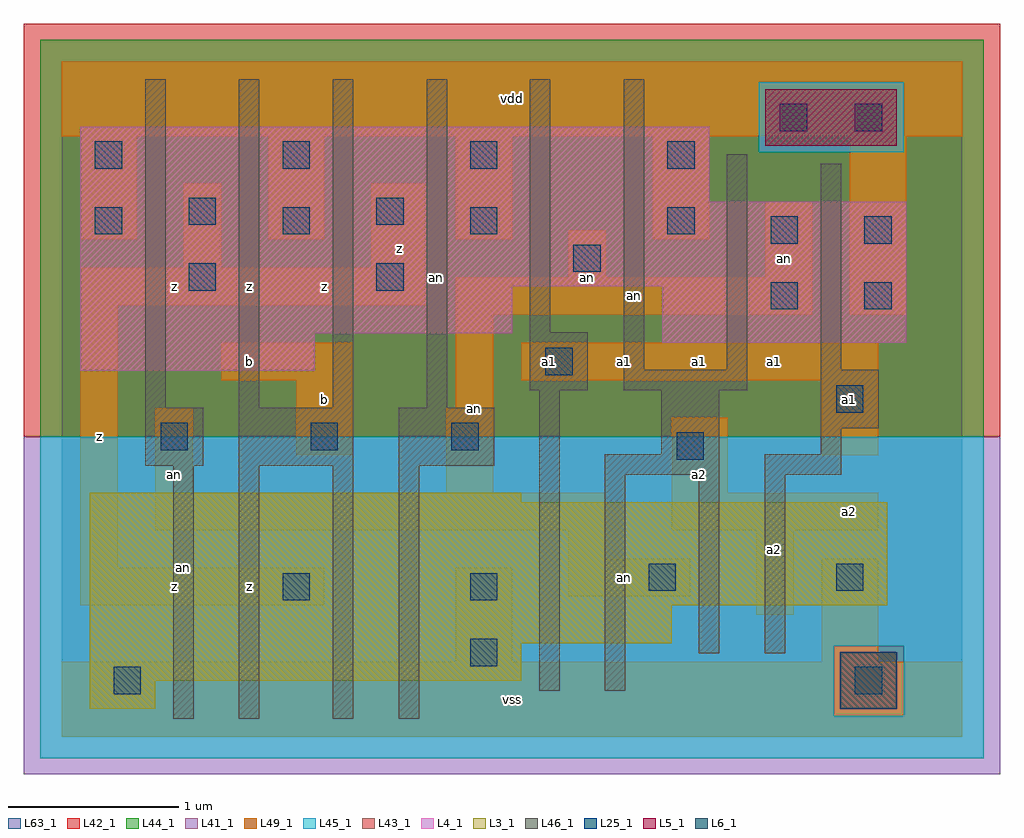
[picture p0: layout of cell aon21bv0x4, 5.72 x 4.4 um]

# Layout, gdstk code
import gdstk
lib = gdstk.Library(unit=1e-6, precision=1e-09)
def R(c, l, rs):  # rectangles x0, y0, x1, y1
    for r in rs: c.add(gdstk.rectangle(r[:2], r[2:], *l))
def A(c, l, x, y, w, h, nx, ny, dx, dy):  # array of equal rectangles
    R(c, l, [(x+i*dx, y+j*dy, x+i*dx+w, y+j*dy+h) for i in range(nx) for j in range(ny)])
L3_1 = (3, 1)
L4_1 = (4, 1)
L5_1 = (5, 1)
L6_1 = (6, 1)
L25_1 = (25, 1)
L41_1 = (41, 1)
L42_1 = (42, 1)
L43_1 = (43, 1)
L44_1 = (44, 1)
L45_1 = (45, 1)
L46_1 = (46, 1)
L49_1 = (49, 1)
L63_1 = (63, 1)

aon21bv0x4 = lib.new_cell('aon21bv0x4')
R(aon21bv0x4, L3_1, [(0.165,0.165,0.55,0.33), (0.165,0.33,2.695,0.55), (0.165,0.55,3.575,0.77), (0.165,0.77,4.84,1.375), (0.165,1.375,2.695,1.43)])
R(aon21bv0x4, L4_1, [(0.11,2.145,1.485,2.365), (3.52,2.31,4.95,2.64), (0.11,2.365,2.64,2.64), (0.11,2.64,4.95,3.135), (0.11,3.135,3.795,3.575)])
R(aon21bv0x4, L5_1, [(4.125,3.465,4.895,3.795)])
R(aon21bv0x4, L6_1, [(4.565,0.165,4.895,0.495)])
A(aon21bv0x4, L25_1, 0.195, 2.945, 0.16, 0.16, 3, 2, 1.1, 0.385)
R(aon21bv0x4, L25_1, [(0.305,0.25,0.465,0.41), (4.65,0.25,4.81,0.41), (2.395,0.415,2.555,0.575), (1.295,0.8,1.455,0.96), (2.395,0.8,2.555,0.96), (3.44,0.855,3.6,1.015), (4.54,0.855,4.7,1.015), (3.605,1.625,3.765,1.785), (0.58,1.68,0.74,1.84), (1.46,1.68,1.62,1.84), (2.285,1.68,2.445,1.84), (4.54,1.9,4.7,2.06), (2.835,2.12,2.995,2.28), (4.155,2.505,4.315,2.665), (4.705,2.505,4.865,2.665), (0.745,2.615,0.905,2.775), (1.845,2.615,2.005,2.775), (3,2.725,3.16,2.885), (4.155,2.89,4.315,3.05), (4.705,2.89,4.865,3.05), (3.55,2.945,3.71,3.105), (0.745,3,0.905,3.16), (1.845,3,2.005,3.16), (3.55,3.33,3.71,3.49), (4.21,3.55,4.37,3.71), (4.65,3.55,4.81,3.71)])
R(aon21bv0x4, L41_1, [(-0.22,-0.22,5.5,1.76)])
R(aon21bv0x4, L42_1, [(-0.22,1.76,5.5,4.18)])
R(aon21bv0x4, L43_1, [(0.165,0.165,0.55,0.33), (4.565,0.165,4.895,0.495), (0.165,0.33,2.695,0.55), (0.165,0.55,3.575,0.77), (0.165,0.77,4.84,1.375), (0.165,1.375,2.695,1.43), (0.11,2.145,1.485,2.365), (3.52,2.31,4.95,2.64), (0.11,2.365,2.64,2.64), (0.11,2.64,4.95,3.135), (0.11,3.135,3.795,3.575), (4.125,3.465,4.895,3.795)])
R(aon21bv0x4, L44_1, [(4.525,0.125,4.935,0.535), (-0.125,1.76,5.405,3.425), (-0.125,3.425,4.085,3.835), (4.935,3.425,5.405,3.835), (-0.125,3.835,5.405,4.085)])
R(aon21bv0x4, L45_1, [(-0.125,-0.125,5.405,0.125), (-0.125,0.125,4.525,0.535), (4.935,0.125,5.405,0.535), (-0.125,0.535,5.405,1.76), (4.085,3.425,4.935,3.835)])
A(aon21bv0x4, L46_1, 0.49, 1.93, 0.12, 1.925, 4, 1, 0.55, 0)
R(aon21bv0x4, L46_1, [(0.655,0.105,0.775,1.59), (1.04,0.105,1.16,1.59), (1.59,0.105,1.71,1.59), (1.975,0.105,2.095,1.59), (2.8,0.27,2.92,2.03), (3.185,0.27,3.305,1.535), (3.735,0.49,3.855,1.535), (4.12,0.49,4.24,1.535), (3.185,1.535,3.855,1.655), (4.12,1.535,4.57,1.655), (0.49,1.59,0.83,1.93), (1.04,1.59,1.71,1.93), (1.975,1.59,2.535,1.93), (3.515,1.655,3.855,2.03), (4.45,1.655,4.57,1.81), (4.45,1.81,4.79,2.15), (2.745,2.03,3.085,2.37), (3.295,2.03,4.02,2.15), (3.295,2.15,3.415,3.855), (3.9,2.15,4.02,3.415), (4.45,2.15,4.57,3.36), (2.745,2.37,2.865,3.855)])
A(aon21bv0x4, L49_1, 0.11, 2.915, 0.33, 0.605, 3, 1, 1.1, 0)
R(aon21bv0x4, L49_1, [(0,0,5.28,0.44), (2.31,0.44,2.64,0.99), (4.455,0.44,4.785,1.045), (4.07,0.715,4.29,1.21), (0.11,0.77,1.54,0.99), (2.97,0.825,3.685,1.045), (0.11,0.99,0.33,2.53), (2.97,1.045,3.19,1.21), (0.55,1.21,3.19,1.43), (3.575,1.21,4.785,1.43), (0.55,1.43,0.77,1.925), (2.255,1.43,2.53,1.925), (3.575,1.43,3.905,1.87), (1.375,1.65,1.705,2.09), (4.455,1.65,4.785,2.09), (2.31,1.925,2.53,2.475), (0.935,2.09,1.705,2.31), (2.695,2.09,4.785,2.31), (2.31,2.475,4.4,2.695), (4.62,2.475,4.95,3.52), (0.11,2.53,2.145,2.75), (2.97,2.695,3.19,2.97), (4.125,2.695,4.4,3.135), (0.715,2.75,0.935,3.245), (1.815,2.75,2.145,3.245), (3.465,2.915,3.795,3.52), (0,3.52,5.28,3.96)])
R(aon21bv0x4, L63_1, [(0,0,5.28,3.96)])
aon21bv0x4.add(gdstk.Label('an', (0.715,0.99), layer=46, texttype=1))
aon21bv0x4.add(gdstk.Label('an', (2.2,2.695), layer=46, texttype=1))
aon21bv0x4.add(gdstk.Label('z', (0.66,0.88), layer=49, texttype=1))
aon21bv0x4.add(gdstk.Label('z', (0.22,1.76), layer=49, texttype=1))
aon21bv0x4.add(gdstk.Label('an', (0.66,1.54), layer=49, texttype=1))
aon21bv0x4.add(gdstk.Label('z', (0.66,2.64), layer=49, texttype=1))
aon21bv0x4.add(gdstk.Label('z', (1.1,0.88), layer=49, texttype=1))
aon21bv0x4.add(gdstk.Label('b', (1.1,2.2), layer=49, texttype=1))
aon21bv0x4.add(gdstk.Label('b', (1.54,1.98), layer=49, texttype=1))
aon21bv0x4.add(gdstk.Label('z', (1.1,2.64), layer=49, texttype=1))
aon21bv0x4.add(gdstk.Label('z', (1.54,2.64), layer=49, texttype=1))
aon21bv0x4.add(gdstk.Label('vss', (2.64,0.22), layer=49, texttype=1))
aon21bv0x4.add(gdstk.Label('a1', (2.86,2.2), layer=49, texttype=1))
aon21bv0x4.add(gdstk.Label('an', (2.42,1.925), layer=49, texttype=1))
aon21bv0x4.add(gdstk.Label('z', (1.98,2.86), layer=49, texttype=1))
aon21bv0x4.add(gdstk.Label('an', (3.08,2.695), layer=49, texttype=1))
aon21bv0x4.add(gdstk.Label('vdd', (2.64,3.74), layer=49, texttype=1))
aon21bv0x4.add(gdstk.Label('an', (3.3,0.935), layer=49, texttype=1))
aon21bv0x4.add(gdstk.Label('a2', (4.18,1.1), layer=49, texttype=1))
aon21bv0x4.add(gdstk.Label('a2', (3.74,1.54), layer=49, texttype=1))
aon21bv0x4.add(gdstk.Label('a1', (3.3,2.2), layer=49, texttype=1))
aon21bv0x4.add(gdstk.Label('a1', (3.74,2.2), layer=49, texttype=1))
aon21bv0x4.add(gdstk.Label('a1', (4.18,2.2), layer=49, texttype=1))
aon21bv0x4.add(gdstk.Label('a2', (4.62,1.32), layer=49, texttype=1))
aon21bv0x4.add(gdstk.Label('a1', (4.62,1.98), layer=49, texttype=1))
aon21bv0x4.add(gdstk.Label('an', (3.355,2.585), layer=49, texttype=1))
aon21bv0x4.add(gdstk.Label('an', (4.235,2.805), layer=49, texttype=1))

lib.write_gds('aon21bv0x4.gds')
